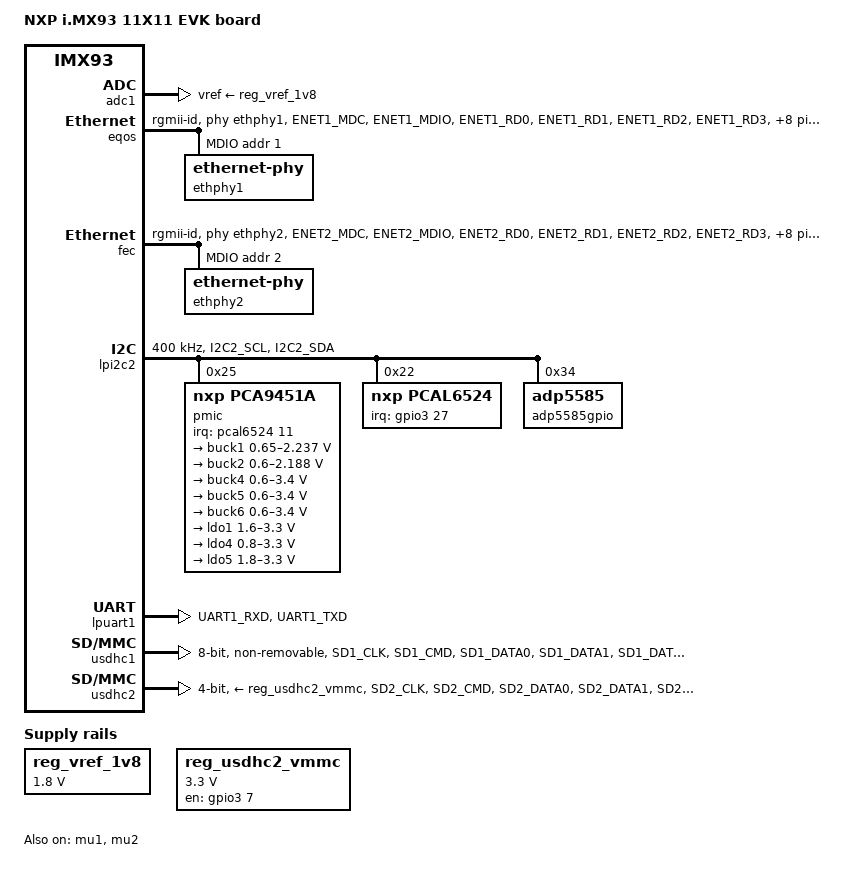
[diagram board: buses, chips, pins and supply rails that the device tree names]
// SPDX-License-Identifier: (GPL-2.0+ OR MIT)
/*
 * Copyright 2022 NXP
 */

/dts-v1/;

#include "imx93.dtsi"

/ {
	model = "NXP i.MX93 11X11 EVK board";
	compatible = "fsl,imx93-11x11-evk", "fsl,imx93";

	chosen {
		stdout-path = &lpuart1;
	};

	reg_vref_1v8: regulator-adc-vref {
		compatible = "regulator-fixed";
		regulator-name = "vref_1v8";
		regulator-min-microvolt = <1800000>;
		regulator-max-microvolt = <1800000>;
	};

	reg_usdhc2_vmmc: regulator-usdhc2 {
		compatible = "regulator-fixed";
		pinctrl-names = "default";
		pinctrl-0 = <&pinctrl_reg_usdhc2_vmmc>;
		regulator-name = "VSD_3V3";
		regulator-min-microvolt = <3300000>;
		regulator-max-microvolt = <3300000>;
		gpio = <&gpio3 7 GPIO_ACTIVE_HIGH>;
		enable-active-high;
	};
};

&adc1 {
	vref-supply = <&reg_vref_1v8>;
	status = "okay";
};

&mu1 {
	status = "okay";
};

&mu2 {
	status = "okay";
};

&eqos {
	pinctrl-names = "default";
	pinctrl-0 = <&pinctrl_eqos>;
	phy-mode = "rgmii-id";
	phy-handle = <&ethphy1>;
	status = "okay";

	mdio {
		compatible = "snps,dwmac-mdio";
		#address-cells = <1>;
		#size-cells = <0>;
		clock-frequency = <5000000>;

		ethphy1: ethernet-phy@1 {
			reg = <1>;
			eee-broken-1000t;
		};
	};
};

&fec {
	pinctrl-names = "default";
	pinctrl-0 = <&pinctrl_fec>;
	phy-mode = "rgmii-id";
	phy-handle = <&ethphy2>;
	fsl,magic-packet;
	status = "okay";

	mdio {
		#address-cells = <1>;
		#size-cells = <0>;
		clock-frequency = <5000000>;

		ethphy2: ethernet-phy@2 {
			reg = <2>;
			eee-broken-1000t;
		};
	};
};

&lpi2c2 {
	#address-cells = <1>;
	#size-cells = <0>;
	clock-frequency = <400000>;
	pinctrl-names = "default", "sleep";
	pinctrl-0 = <&pinctrl_lpi2c2>;
	pinctrl-1 = <&pinctrl_lpi2c2>;
	status = "okay";

	pmic@25 {
		compatible = "nxp,pca9451a";
		reg = <0x25>;
		interrupt-parent = <&pcal6524>;
		interrupts = <11 IRQ_TYPE_LEVEL_LOW>;

		regulators {
			buck1: BUCK1 {
				regulator-name = "BUCK1";
				regulator-min-microvolt = <650000>;
				regulator-max-microvolt = <2237500>;
				regulator-boot-on;
				regulator-always-on;
				regulator-ramp-delay = <3125>;
			};

			buck2: BUCK2 {
				regulator-name = "BUCK2";
				regulator-min-microvolt = <600000>;
				regulator-max-microvolt = <2187500>;
				regulator-boot-on;
				regulator-always-on;
				regulator-ramp-delay = <3125>;
			};

			buck4: BUCK4{
				regulator-name = "BUCK4";
				regulator-min-microvolt = <600000>;
				regulator-max-microvolt = <3400000>;
				regulator-boot-on;
				regulator-always-on;
			};

			buck5: BUCK5{
				regulator-name = "BUCK5";
				regulator-min-microvolt = <600000>;
				regulator-max-microvolt = <3400000>;
				regulator-boot-on;
				regulator-always-on;
			};

			buck6: BUCK6 {
				regulator-name = "BUCK6";
				regulator-min-microvolt = <600000>;
				regulator-max-microvolt = <3400000>;
				regulator-boot-on;
				regulator-always-on;
			};

			ldo1: LDO1 {
				regulator-name = "LDO1";
				regulator-min-microvolt = <1600000>;
				regulator-max-microvolt = <3300000>;
				regulator-boot-on;
				regulator-always-on;
			};

			ldo4: LDO4 {
				regulator-name = "LDO4";
				regulator-min-microvolt = <800000>;
				regulator-max-microvolt = <3300000>;
				regulator-boot-on;
				regulator-always-on;
			};

			ldo5: LDO5 {
				regulator-name = "LDO5";
				regulator-min-microvolt = <1800000>;
				regulator-max-microvolt = <3300000>;
				regulator-boot-on;
				regulator-always-on;
			};
		};
	};

	pcal6524: gpio@22 {
		compatible = "nxp,pcal6524";
		pinctrl-names = "default";
		pinctrl-0 = <&pinctrl_pcal6524>;
		reg = <0x22>;
		gpio-controller;
		#gpio-cells = <2>;
		interrupt-controller;
		#interrupt-cells = <2>;
		interrupt-parent = <&gpio3>;
		interrupts = <27 IRQ_TYPE_LEVEL_LOW>;
	};

	adp5585gpio: gpio@34 {
		compatible = "adp5585";
		reg = <0x34>;
		gpio-controller;
		#gpio-cells = <2>;
	};
};

&lpuart1 { /* console */
	pinctrl-names = "default";
	pinctrl-0 = <&pinctrl_uart1>;
	status = "okay";
};

&usdhc1 {
	pinctrl-names = "default", "state_100mhz", "state_200mhz";
	pinctrl-0 = <&pinctrl_usdhc1>;
	pinctrl-1 = <&pinctrl_usdhc1>;
	pinctrl-2 = <&pinctrl_usdhc1>;
	bus-width = <8>;
	non-removable;
	status = "okay";
};

&usdhc2 {
	pinctrl-names = "default", "state_100mhz", "state_200mhz";
	pinctrl-0 = <&pinctrl_usdhc2>, <&pinctrl_usdhc2_gpio>;
	pinctrl-1 = <&pinctrl_usdhc2>, <&pinctrl_usdhc2_gpio>;
	pinctrl-2 = <&pinctrl_usdhc2>, <&pinctrl_usdhc2_gpio>;
	cd-gpios = <&gpio3 00 GPIO_ACTIVE_LOW>;
	vmmc-supply = <&reg_usdhc2_vmmc>;
	bus-width = <4>;
	status = "okay";
	no-sdio;
	no-mmc;
};

&iomuxc {
	pinctrl_lpi2c2: lpi2c2grp {
		fsl,pins = <
			MX93_PAD_I2C2_SCL__LPI2C2_SCL			0x40000b9e
			MX93_PAD_I2C2_SDA__LPI2C2_SDA			0x40000b9e
		>;
	};

	pinctrl_pcal6524: pcal6524grp {
		fsl,pins = <
			MX93_PAD_CCM_CLKO2__GPIO3_IO27			0x31e
		>;
	};

	pinctrl_eqos: eqosgrp {
		fsl,pins = <
			MX93_PAD_ENET1_MDC__ENET_QOS_MDC			0x57e
			MX93_PAD_ENET1_MDIO__ENET_QOS_MDIO			0x57e
			MX93_PAD_ENET1_RD0__ENET_QOS_RGMII_RD0			0x57e
			MX93_PAD_ENET1_RD1__ENET_QOS_RGMII_RD1			0x57e
			MX93_PAD_ENET1_RD2__ENET_QOS_RGMII_RD2			0x57e
			MX93_PAD_ENET1_RD3__ENET_QOS_RGMII_RD3			0x57e
			MX93_PAD_ENET1_RXC__CCM_ENET_QOS_CLOCK_GENERATE_RX_CLK	0x5fe
			MX93_PAD_ENET1_RX_CTL__ENET_QOS_RGMII_RX_CTL		0x57e
			MX93_PAD_ENET1_TD0__ENET_QOS_RGMII_TD0			0x57e
			MX93_PAD_ENET1_TD1__ENET_QOS_RGMII_TD1			0x57e
			MX93_PAD_ENET1_TD2__ENET_QOS_RGMII_TD2			0x57e
			MX93_PAD_ENET1_TD3__ENET_QOS_RGMII_TD3			0x57e
			MX93_PAD_ENET1_TXC__CCM_ENET_QOS_CLOCK_GENERATE_TX_CLK	0x5fe
			MX93_PAD_ENET1_TX_CTL__ENET_QOS_RGMII_TX_CTL		0x57e
		>;
	};

	pinctrl_fec: fecgrp {
		fsl,pins = <
			MX93_PAD_ENET2_MDC__ENET1_MDC			0x57e
			MX93_PAD_ENET2_MDIO__ENET1_MDIO			0x57e
			MX93_PAD_ENET2_RD0__ENET1_RGMII_RD0		0x57e
			MX93_PAD_ENET2_RD1__ENET1_RGMII_RD1		0x57e
			MX93_PAD_ENET2_RD2__ENET1_RGMII_RD2		0x57e
			MX93_PAD_ENET2_RD3__ENET1_RGMII_RD3		0x57e
			MX93_PAD_ENET2_RXC__ENET1_RGMII_RXC		0x5fe
			MX93_PAD_ENET2_RX_CTL__ENET1_RGMII_RX_CTL	0x57e
			MX93_PAD_ENET2_TD0__ENET1_RGMII_TD0		0x57e
			MX93_PAD_ENET2_TD1__ENET1_RGMII_TD1		0x57e
			MX93_PAD_ENET2_TD2__ENET1_RGMII_TD2		0x57e
			MX93_PAD_ENET2_TD3__ENET1_RGMII_TD3		0x57e
			MX93_PAD_ENET2_TXC__ENET1_RGMII_TXC		0x5fe
			MX93_PAD_ENET2_TX_CTL__ENET1_RGMII_TX_CTL	0x57e
		>;
	};

	pinctrl_uart1: uart1grp {
		fsl,pins = <
			MX93_PAD_UART1_RXD__LPUART1_RX			0x31e
			MX93_PAD_UART1_TXD__LPUART1_TX			0x31e
		>;
	};

	pinctrl_usdhc1: usdhc1grp {
		fsl,pins = <
			MX93_PAD_SD1_CLK__USDHC1_CLK		0x15fe
			MX93_PAD_SD1_CMD__USDHC1_CMD		0x13fe
			MX93_PAD_SD1_DATA0__USDHC1_DATA0	0x13fe
			MX93_PAD_SD1_DATA1__USDHC1_DATA1	0x13fe
			MX93_PAD_SD1_DATA2__USDHC1_DATA2	0x13fe
			MX93_PAD_SD1_DATA3__USDHC1_DATA3	0x13fe
			MX93_PAD_SD1_DATA4__USDHC1_DATA4	0x13fe
			MX93_PAD_SD1_DATA5__USDHC1_DATA5	0x13fe
			MX93_PAD_SD1_DATA6__USDHC1_DATA6	0x13fe
			MX93_PAD_SD1_DATA7__USDHC1_DATA7	0x13fe
			MX93_PAD_SD1_STROBE__USDHC1_STROBE	0x15fe
		>;
	};

	pinctrl_reg_usdhc2_vmmc: regusdhc2vmmcgrp {
		fsl,pins = <
			MX93_PAD_SD2_RESET_B__GPIO3_IO07	0x31e
		>;
	};

	pinctrl_usdhc2_gpio: usdhc2gpiogrp {
		fsl,pins = <
			MX93_PAD_SD2_CD_B__GPIO3_IO00		0x31e
		>;
	};

	pinctrl_usdhc2: usdhc2grp {
		fsl,pins = <
			MX93_PAD_SD2_CLK__USDHC2_CLK		0x15fe
			MX93_PAD_SD2_CMD__USDHC2_CMD		0x13fe
			MX93_PAD_SD2_DATA0__USDHC2_DATA0	0x13fe
			MX93_PAD_SD2_DATA1__USDHC2_DATA1	0x13fe
			MX93_PAD_SD2_DATA2__USDHC2_DATA2	0x13fe
			MX93_PAD_SD2_DATA3__USDHC2_DATA3	0x13fe
			MX93_PAD_SD2_VSELECT__USDHC2_VSELECT	0x51e
		>;
	};
};
